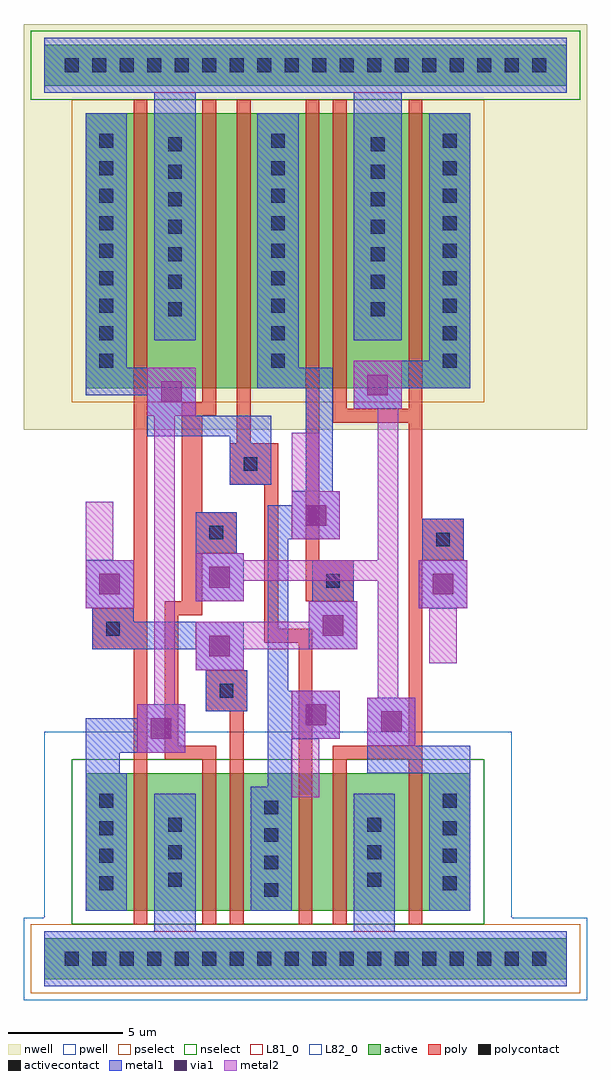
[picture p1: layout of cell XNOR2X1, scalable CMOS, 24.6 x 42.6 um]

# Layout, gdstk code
import gdstk
lib = gdstk.Library(unit=1e-6, precision=1e-09)
def R(c, l, rs):  # rectangles x0, y0, x1, y1
    for r in rs: c.add(gdstk.rectangle(r[:2], r[2:], *l))
def A(c, l, x, y, w, h, nx, ny, dx, dy):  # array of equal rectangles
    R(c, l, [(x+i*dx, y+j*dy, x+i*dx+w, y+j*dy+h) for i in range(nx) for j in range(ny)])
pwell = (41, 0)
nwell = (42, 0)
active = (43, 0)
pselect = (44, 0)
nselect = (45, 0)
poly = (46, 0)
polycontact = (47, 0)
activecontact = (48, 0)
metal1 = (49, 0)
via1 = (50, 0)
metal2 = (51, 0)
L81_0 = (81, 0)
L82_0 = (82, 0)

xnor2x1 = lib.new_cell('XNOR2X1')
R(xnor2x1, pwell, [(-1.8,-1.8,22.8,1.8), (-0.9,1.8,19.5,9.9)])
R(xnor2x1, nwell, [(-1.8,23.1,22.8,40.8)])
R(xnor2x1, active, [(-0.9,-0.9,21.9,0.9), (0.9,2.1,17.7,8.1), (0.9,24.9,17.7,36.9), (-0.9,38.1,21.9,39.9)])
R(xnor2x1, pselect, [(-1.5,-1.5,22.5,1.5), (0.3,24.3,18.3,37.5)])
R(xnor2x1, nselect, [(0.3,1.5,18.3,8.7), (-1.5,37.5,22.5,40.5)])
R(xnor2x1, poly, [(3,1.5,3.6,13.5), (6,1.5,6.6,8.7), (7.2,1.5,7.8,10.8), (10.2,1.5,10.8,13.8), (11.7,1.5,12.3,8.7), (15,1.5,15.6,8.7), (4.35,8.7,6.6,9.3), (11.7,8.7,15.6,9.3), (4.35,9.3,4.95,15), (15,9.3,15.6,17.4), (6.15,10.8,7.95,12.6), (1.2,13.5,3.6,15.3), (8.7,13.8,10.8,14.4), (8.7,14.4,9.3,20.7), (4.35,15,6,15.6), (3,15.3,3.6,37.5), (5.1,15.6,6,17.7), (10.5,15.6,12.6,17.4), (10.5,17.4,11.1,37.5), (15,17.4,17.4,19.2), (5.1,17.7,7.5,19.5), (15,19.2,15.6,23.4), (5.1,19.5,6,23.7), (7.2,20.7,9.3,22.5), (7.5,22.5,8.1,37.5), (11.7,23.4,15.6,24), (5.1,23.7,6.6,24.3), (11.7,24,12.3,37.5), (15,24,15.6,37.5), (6,24.3,6.6,37.5)])
R(xnor2x1, polycontact, [(6.75,11.4,7.35,12), (1.8,14.1,2.4,14.7), (11.4,16.2,12,16.8), (16.2,18,16.8,18.6), (6.3,18.3,6.9,18.9), (7.8,21.3,8.4,21.9)])
A(xnor2x1, activecontact, 0, -0.3, 0.6, 0.6, 18, 2, 1.2, 39)
A(xnor2x1, activecontact, 8.7, 2.7, 0.6, 0.6, 1, 4, 0, 1.2)
A(xnor2x1, activecontact, 1.5, 3, 0.6, 0.6, 1, 4, 0, 1.2)
A(xnor2x1, activecontact, 16.5, 3, 0.6, 0.6, 1, 4, 0, 1.2)
A(xnor2x1, activecontact, 4.5, 3.15, 0.6, 0.6, 1, 3, 0, 1.2)
A(xnor2x1, activecontact, 13.2, 3.15, 0.6, 0.6, 1, 3, 0, 1.2)
A(xnor2x1, activecontact, 1.5, 25.8, 0.6, 0.6, 3, 9, 7.5, 1.2)
A(xnor2x1, activecontact, 4.5, 28.05, 0.6, 0.6, 1, 7, 0, 1.2)
A(xnor2x1, activecontact, 13.35, 28.05, 0.6, 0.6, 1, 7, 0, 1.2)
R(xnor2x1, metal1, [(-0.9,-1.2,21.9,1.2), (3.9,1.2,5.7,7.2), (12.6,1.2,14.4,7.2), (0.9,2.1,2.7,8.1), (8.1,2.1,9.9,7.5), (15.9,2.1,17.7,8.1), (8.85,7.5,9.9,9.6), (0.9,8.1,2.4,9), (13.2,8.1,17.7,9.3), (0.9,9,5.25,10.5), (13.2,9.3,15.3,11.4), (8.85,9.6,12,11.7), (3.15,10.5,5.25,11.1), (6.15,10.8,7.95,12.6), (8.85,11.7,9.75,18.3), (5.7,12.6,7.8,13.5), (1.2,13.5,7.8,14.7), (10.65,13.5,12.75,15.6), (1.2,14.7,3,15.3), (0.9,15.3,3,17.4), (15.45,15.3,17.55,17.4), (5.7,15.6,7.8,17.7), (10.8,15.6,12.6,17.4), (15.6,17.4,17.4,19.2), (5.7,17.7,7.5,19.5), (8.85,18.3,12,19.8), (9.9,19.8,12,20.4), (10.5,20.4,11.7,24.9), (7.2,20.7,9,22.8), (3.6,22.8,9,23.7), (3.6,23.7,5.7,24.6), (12.6,24,14.7,24.9), (0.9,24.6,5.7,25.8), (8.4,24.9,11.7,25.8), (12.6,24.9,17.7,26.1), (0.9,25.8,2.7,36.9), (8.4,25.8,10.2,36.9), (15.9,26.1,17.7,36.9), (3.9,27,5.7,37.8), (12.6,27,14.7,37.8), (-0.9,37.8,21.9,40.2)])
R(xnor2x1, via1, [(3.75,9.6,4.65,10.5), (13.8,9.9,14.7,10.8), (10.5,10.2,11.4,11.1), (6.3,13.2,7.2,14.1), (11.25,14.1,12.15,15), (1.5,15.9,2.4,16.8), (16.05,15.9,16.95,16.8), (6.3,16.2,7.2,17.1), (10.5,18.9,11.4,19.8), (4.2,24.3,5.1,25.2), (13.2,24.6,14.1,25.5)])
R(xnor2x1, metal2, [(9.9,7.05,11.1,9.6), (3.15,9,5.25,11.1), (13.2,9.3,15.3,11.4), (9.9,9.6,12,11.7), (3.9,11.1,4.8,23.7), (13.65,11.4,14.55,16.5), (5.7,12.6,7.8,13.5), (15.9,12.9,17.1,15.3), (5.7,13.5,12.75,14.7), (10.65,14.7,12.75,15.6), (0.9,15.3,3,17.4), (15.45,15.3,17.55,17.4), (5.7,15.6,7.8,16.5), (5.7,16.5,14.55,17.4), (0.9,17.4,2.1,19.95), (5.7,17.4,7.8,17.7), (13.65,17.4,14.55,24), (9.9,18.3,12,20.4), (9.9,20.4,11.1,22.95), (3.6,23.7,5.7,25.8), (12.6,24,14.7,26.1)])
R(xnor2x1, L81_0, [(-0.9,-1.2,21.9,1.2), (-0.9,37.8,21.9,40.2)])
R(xnor2x1, L82_0, [(9.9,7.05,11.1,9.6), (15.9,12.9,17.1,15.3), (0.9,17.4,2.1,19.95), (9.9,20.4,11.1,22.95)])

lib.write_gds('XNOR2X1.gds')
